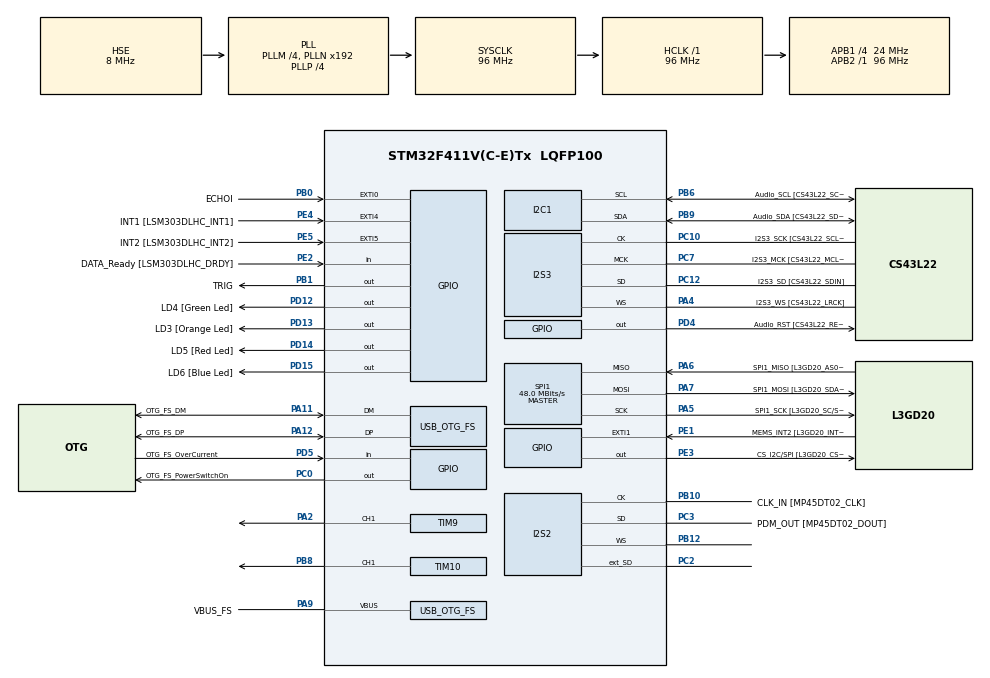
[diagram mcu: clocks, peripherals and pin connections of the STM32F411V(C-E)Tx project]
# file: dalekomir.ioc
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I2S2.AudioFreq=I2S_AUDIOFREQ_96K
I2S2.ErrorAudioFreq=0.15 %
I2S2.FullDuplexMode=I2S_FULLDUPLEXMODE_ENABLE
I2S2.Instance=SPI$Index
I2S2.RealAudioFreq=96.153 KHz
I2S2.VirtualMode=I2S_MODE_MASTER
I2S3.AudioFreq=I2S_AUDIOFREQ_96K
I2S3.ErrorAudioFreq=-6.99 %
I2S3.FullDuplexMode=I2S_FULLDUPLEXMODE_DISABLE
I2S3.Instance=SPI$Index
I2S3.RealAudioFreq=89.285 KHz
I2S3.VirtualMode=I2S_MODE_MASTER
Mcu.Family=STM32F4
Mcu.Name=STM32F411V(C-E)Tx
Mcu.Package=LQFP100
NVIC.EXTI0_IRQn=true\:0\:0\:false\:false\:true\:true\:true
NVIC.OTG_FS_IRQn=true\:0\:0\:false\:false\:true\:true\:true
NVIC.PriorityGroup=NVIC_PRIORITYGROUP_0
NVIC.TIM1_BRK_TIM9_IRQn=true\:0\:0\:false\:false\:true\:true\:true
NVIC.TIM1_UP_TIM10_IRQn=true\:0\:0\:false\:false\:true\:true\:true
PA10.GPIO_Label=OTG_FS_ID
PA10.Signal=USB_OTG_FS_ID
PA11.GPIO_Label=OTG_FS_DM
PA11.Mode=Device_Only
PA11.Signal=USB_OTG_FS_DM
PA12.GPIO_Label=OTG_FS_DP
PA12.Mode=Device_Only
PA12.Signal=USB_OTG_FS_DP
PA13.GPIO_Label=SWDIO
PA13.Mode=Serial_Wire
PA13.Signal=SYS_JTMS-SWDIO
PA14.GPIO_Label=SWCLK
PA14.Mode=Serial_Wire
PA14.Signal=SYS_JTCK-SWCLK
PA2.Signal=S_TIM9_CH1
PA4.GPIO_Label=I2S3_WS [CS43L22_LRCK]
PA4.GPIO_Mode=GPIO_MODE_AF_PP
PA4.GPIO_PuPd=GPIO_NOPULL
PA4.GPIO_Speed=GPIO_SPEED_FREQ_LOW
PA4.Mode=Half_Duplex_Master
PA4.Signal=I2S3_WS
PA5.GPIO_Label=SPI1_SCK [L3GD20_SC/SPC]
PA5.Mode=Full_Duplex_Master
PA5.Signal=SPI1_SCK
PA6.GPIO_Label=SPI1_MISO [L3GD20_AS0/SDO]
PA6.Mode=Full_Duplex_Master
PA6.Signal=SPI1_MISO
PA7.GPIO_Label=SPI1_MOSI [L3GD20_SDA/SDI/SDO]
PA7.Mode=Full_Duplex_Master
PA7.Signal=SPI1_MOSI
PA9.GPIO_Label=VBUS_FS
PA9.Mode=Activate_VBUS
PA9.Signal=USB_OTG_FS_VBUS
PB0.GPIO_Label=ECHOI
PB0.GPIO_ModeDefaultEXTI=GPIO_MODE_IT_RISING_FALLING
PB0.Signal=GPXTI0
PB1.GPIO_Label=TRIG
PB1.Signal=GPIO_Output
PB10.GPIO_Label=CLK_IN [MP45DT02_CLK]
PB10.Mode=Full_Duplex_Master
PB10.Signal=I2S2_CK
PB12.Mode=Full_Duplex_Master
PB12.Signal=I2S2_WS
PB3.GPIO_Label=SWO
PB3.Signal=SYS_JTDO-SWO
PB6.GPIO_Label=Audio_SCL [CS43L22_SCL]
PB6.GPIO_Mode=GPIO_MODE_AF_OD
PB6.GPIO_PuPd=GPIO_NOPULL
PB6.GPIO_Speed=GPIO_SPEED_FREQ_LOW
PB6.Mode=I2C
PB6.Signal=I2C1_SCL
PB8.Signal=S_TIM10_CH1
PB9.GPIO_Label=Audio_SDA [CS43L22_SDA]
PB9.GPIO_Mode=GPIO_MODE_AF_OD
PB9.GPIO_PuPd=GPIO_NOPULL
PB9.GPIO_Speed=GPIO_SPEED_FREQ_LOW
PB9.Mode=I2C
PB9.Signal=I2C1_SDA
PC0.GPIO_Label=OTG_FS_PowerSwitchOn
PC0.PinState=GPIO_PIN_SET
PC0.Signal=GPIO_Output
PC10.GPIO_Label=I2S3_SCK [CS43L22_SCLK]
PC10.GPIO_Mode=GPIO_MODE_AF_PP
PC10.GPIO_PuPd=GPIO_NOPULL
PC10.GPIO_Speed=GPIO_SPEED_FREQ_LOW
PC10.Mode=Half_Duplex_Master
PC10.Signal=I2S3_CK
PC12.GPIO_Label=I2S3_SD [CS43L22_SDIN]
PC12.GPIO_Mode=GPIO_MODE_AF_PP
PC12.GPIO_PuPd=GPIO_NOPULL
PC12.GPIO_Speed=GPIO_SPEED_FREQ_LOW
PC12.Mode=Half_Duplex_Master
PC12.Signal=I2S3_SD
PC14-OSC32_IN.GPIO_Label=PC14-OSC32_IN
PC14-OSC32_IN.Mode=LSE-External-Oscillator
PC14-OSC32_IN.Signal=RCC_OSC32_IN
PC15-OSC32_OUT.GPIO_Label=PC15-OSC32_OUT
PC15-OSC32_OUT.Mode=LSE-External-Oscillator
PC15-OSC32_OUT.Signal=RCC_OSC32_OUT
PC2.Mode=Full_Duplex_Master
PC2.Signal=I2S2_ext_SD
PC3.GPIO_Label=PDM_OUT [MP45DT02_DOUT]
PC3.Mode=Full_Duplex_Master
PC3.Signal=I2S2_SD
PC7.GPIO_Label=I2S3_MCK [CS43L22_MCLK]
PC7.GPIO_Mode=GPIO_MODE_AF_PP
PC7.GPIO_PuPd=GPIO_NOPULL
PC7.GPIO_Speed=GPIO_SPEED_FREQ_LOW
PC7.Mode=Master_Clock_Activated
PC7.Signal=I2S3_MCK
PD12.GPIO_Label=LD4 [Green Led]
PD12.GPIO_PuPd=GPIO_NOPULL
PD12.GPIO_Speed=GPIO_SPEED_FREQ_LOW
PD12.Signal=GPIO_Output
PD13.GPIO_Label=LD3 [Orange Led]
PD13.GPIO_PuPd=GPIO_NOPULL
PD13.GPIO_Speed=GPIO_SPEED_FREQ_LOW
PD13.Signal=GPIO_Output
PD14.GPIO_Label=LD5 [Red Led]
PD14.GPIO_PuPd=GPIO_NOPULL
PD14.GPIO_Speed=GPIO_SPEED_FREQ_LOW
PD14.Signal=GPIO_Output
PD15.GPIO_Label=LD6 [Blue Led]
PD15.GPIO_PuPd=GPIO_NOPULL
PD15.GPIO_Speed=GPIO_SPEED_FREQ_LOW
PD15.Signal=GPIO_Output
PD4.GPIO_Label=Audio_RST [CS43L22_RESET]
PD4.Signal=GPIO_Output
PD5.GPIO_Label=OTG_FS_OverCurrent
PD5.Signal=GPIO_Input
PE1.GPIO_Label=MEMS_INT2 [L3GD20_INT2]
PE1.GPIO_ModeDefaultEXTI=GPIO_MODE_EVT_RISING
PE1.Signal=GPXTI1
PE2.GPIO_Label=DATA_Ready [LSM303DLHC_DRDY]
PE2.Signal=GPIO_Input
PE3.GPIO_Label=CS_I2C/SPI [L3GD20_CS_I2C/SPI]
PE3.Signal=GPIO_Output
PE4.GPIO_Label=INT1 [LSM303DLHC_INT1]
PE4.GPIO_ModeDefaultEXTI=GPIO_MODE_EVT_RISING
PE4.Signal=GPXTI4
PE5.GPIO_Label=INT2 [LSM303DLHC_INT2]
PE5.GPIO_ModeDefaultEXTI=GPIO_MODE_EVT_RISING
PE5.Signal=GPXTI5
PH0\ -\ OSC_IN.GPIO_Label=PH0-OSC_IN
PH0\ -\ OSC_IN.Mode=HSE-External-Oscillator
PH0\ -\ OSC_IN.Signal=RCC_OSC_IN
PH1\ -\ OSC_OUT.GPIO_Label=PH1-OSC_OUT
PH1\ -\ OSC_OUT.Mode=HSE-External-Oscillator
PH1\ -\ OSC_OUT.Signal=RCC_OSC_OUT
ProjectManager.HeapSize=0x200
ProjectManager.StackSize=0x400
ProjectManager.TargetToolchain=STM32CubeIDE
RCC.48MHZClocksFreq_Value=48000000
RCC.AHBFreq_Value=96000000
RCC.APB1CLKDivider=RCC_HCLK_DIV4
RCC.APB1Freq_Value=24000000
RCC.APB1TimFreq_Value=48000000
RCC.APB2Freq_Value=96000000
RCC.APB2TimFreq_Value=96000000
RCC.CortexFreq_Value=96000000
RCC.HCLKFreq_Value=96000000
RCC.HSE_VALUE=8000000
RCC.HSI_VALUE=16000000
RCC.PLLI2SM=5
RCC.PLLI2SN=200
RCC.PLLM=4
RCC.PLLP=RCC_PLLP_DIV4
RCC.PLLQ=8
RCC.SYSCLKFreq_VALUE=96000000
RCC.SYSCLKSource=RCC_SYSCLKSOURCE_PLLCLK
RCC.VCOOutputFreq_Value=384000000
SH.S_TIM10_CH1.0=TIM10_CH1,PWM Generation1 CH1
SH.S_TIM9_CH1.0=TIM9_CH1,PWM Generation1 CH1
SPI1.BaudRatePrescaler=SPI_BAUDRATEPRESCALER_2
SPI1.CalculateBaudRate=48.0 MBits/s
SPI1.Direction=SPI_DIRECTION_2LINES
SPI1.Mode=SPI_MODE_MASTER
SPI1.VirtualType=VM_MASTER
TIM10.Channel=TIM_CHANNEL_1
TIM10.Period=10000
TIM10.Prescaler=95
TIM9.Channel-PWM\ Generation1\ CH1=TIM_CHANNEL_1
TIM9.Period=16
TIM9.Prescaler=95
USB_DEVICE.CLASS_NAME_FS=CDC
USB_DEVICE.MANUFACTURER_STRING=Max
USB_DEVICE.VirtualMode=Cdc
USB_DEVICE.VirtualModeFS=Cdc_FS
USB_OTG_FS.VirtualMode=Device_Only
VP_TIM10_VS_ClockSourceINT.Mode=Enable_Timer
VP_USB_DEVICE_VS_USB_DEVICE_CDC_FS.Mode=CDC_FS
board=STM32F411E-DISCO

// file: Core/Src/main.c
/* USER CODE BEGIN Header */
/**
  ******************************************************************************
  * @file           : main.c
  * @brief          : Main program body
  ******************************************************************************
  * @attention
  *
  * <h2><center>&copy; Copyright (c) 2020 STMicroelectronics.
  * All rights reserved.</center></h2>
  *
  * This software component is licensed by ST under Ultimate Liberty license
  * SLA0044, the "License"; You may not use this file except in compliance with
  * the License. You may obtain a copy of the License at:
  *                             www.st.com/SLA0044
  *
  ******************************************************************************
  */
/* USER CODE END Header */
#include "main.h"
#include "i2c.h"
#include "i2s.h"
#include "spi.h"
#include "tim.h"
#include "usb_device.h"
#include "gpio.h"

/* USER CODE BEGIN PTD */
void TIM10_reinit();
void TIM9_reinit();
void print_str_reinit(char str[]);
uint32_t get_us();
void udelay(uint32_t useconds);
/* USER CODE END PTD */

void SystemClock_Config(void);

/* USER CODE BEGIN 0 */
// Timer setup
volatile uint32_t tim10_overflows = 0;
volatile uint32_t tim9_overflows = 0;
char str[] = "Time: %lu us, distance: %lu   \n";
volatile uint32_t started_waiting_for_echo;
volatile uint32_t started_waiting_for_echo_low;

typedef enum state_t {
 INITIAL_S,
 TRIGGERING_S,
 WAITING_FOR_ECHO_START_S,
 WAITING_FOR_ECHO_STOP_S,
 TRIG_NOT_WENT_HIGH_S,
 TRIG_NOT_WENT_LOW_S,
 ECHO_TIMEOUT_S,
 ECHO_NOT_WENT_LOW_S,
 READING_DATA_S,
 ERROR_S
} state_t;

volatile state_t state = INITIAL_S;

void TIM10_reinit()
{
	HAL_TIM_Base_Stop(&htim10);
	__HAL_TIM_SET_PRESCALER( &htim10, (96-1) );
	__HAL_TIM_SET_COUNTER( &htim10, 0 );
	tim10_overflows = 0;
	HAL_TIM_Base_Start_IT(&htim10);

	if (state == INITIAL_S){
	// STARTING TO SEND THE SIGNAL
	HAL_GPIO_WritePin(TRIG_GPIO_Port, TRIG_Pin, GPIO_PIN_SET);

	if (HAL_GPIO_ReadPin(TRIG_GPIO_Port, TRIG_Pin) != GPIO_PIN_SET){
	 state = TRIG_NOT_WENT_HIGH_S;
	 return;
	}

	state = TRIGGERING_S;
	TIM9_reinit(); // starting to count another timer(when to stop trig)
	}
}

void TIM9_reinit()
{
	HAL_TIM_Base_Stop(&htim9);

	__HAL_TIM_SET_PRESCALER( &htim9, (96-1) );
	__HAL_TIM_SET_COUNTER( &htim9, 0 );
	tim9_overflows = 0;
	HAL_TIM_Base_Start_IT(&htim9);
}

void HAL_TIM_PeriodElapsedCallback(TIM_HandleTypeDef *htim)
{
  if( htim->Instance == TIM10 )
  {
   ++tim10_overflows;
  }
  if( htim->Instance == TIM9 )
  {
   ++tim9_overflows;

   if (state == TRIGGERING_S){

		 HAL_GPIO_WritePin(TRIG_GPIO_Port, TRIG_Pin, GPIO_PIN_RESET);

		 if (HAL_GPIO_ReadPin(TRIG_GPIO_Port, TRIG_Pin) != GPIO_PIN_RESET){
			 state = TRIG_NOT_WENT_LOW_S;
			 return;
		 }
		 started_waiting_for_echo = tim9_overflows * 16 + __HAL_TIM_GET_COUNTER(&htim9);
		 state = WAITING_FOR_ECHO_START_S;
   }
   // if we didn't receive answer from rangefinder in 200ms:
   if (state == WAITING_FOR_ECHO_START_S){
	   if (tim9_overflows * 16 + __HAL_TIM_GET_COUNTER(&htim9) - started_waiting_for_echo > 200000){
		   state = ECHO_TIMEOUT_S;
		   return;
	   }
   }

   // if we started to receive answer, but echo didn't go low after 200ms:
   if (state == WAITING_FOR_ECHO_STOP_S){
	   if (tim9_overflows * 16 + __HAL_TIM_GET_COUNTER(&htim9) - started_waiting_for_echo_low > 200000){
		   state = ECHO_NOT_WENT_LOW_S;
		   return;
	   }
   }
  }
}

// Interrupt handler
volatile uint32_t echo_start;
volatile uint32_t echo_finish;
volatile uint32_t measured_time;

void HAL_GPIO_EXTI_Callback(uint16_t GPIO_Pin)
{
 if (GPIO_Pin == ECHOI_Pin )
 {
  switch (state) {
  case WAITING_FOR_ECHO_START_S: {
   echo_start =  get_us();
   started_waiting_for_echo_low = tim9_overflows * 16 + __HAL_TIM_GET_COUNTER(&htim9);
   state = WAITING_FOR_ECHO_STOP_S;
   break;
  }

  case WAITING_FOR_ECHO_STOP_S: {
   echo_finish = get_us();
   measured_time = echo_finish - echo_start;
   state = READING_DATA_S;
   break;
  }

  default:
   state = ERROR_S;
  }
 }
}

uint32_t get_us()
{
   __HAL_TIM_DISABLE_IT(&htim10, TIM_IT_UPDATE); //! Дуже важливо!
   // __disable_irq();
   uint32_t res = tim10_overflows * 10000 + __HAL_TIM_GET_COUNTER(&htim10);
   // __enable_irq();
   __HAL_TIM_ENABLE_IT(&htim10, TIM_IT_UPDATE);
   return res;
}

void print_str_reinit(char str[]){
	CDC_Transmit_FS(str, strlen(str));
	// this is not a busy loop, it's just delay between we start again
	// for convenience!!!
    HAL_Delay(200);
    state = INITIAL_S;

    TIM10_reinit();

}

/* USER CODE END 0 */

int main(void)
{

  /* MCU Configuration--------------------------------------------------------*/

  /* Reset of all peripherals, Initializes the Flash interface and the Systick. */
  HAL_Init();

  /* Configure the system clock */
  SystemClock_Config();

  /* Initialize all configured peripherals */
  MX_GPIO_Init();
  MX_I2C1_Init();
  MX_I2S2_Init();
  MX_I2S3_Init();
  MX_SPI1_Init();
  MX_TIM10_Init();
  MX_USB_DEVICE_Init();
  MX_TIM9_Init();

  /* Infinite loop */
  /* USER CODE BEGIN WHILE */

  TIM10_reinit();

  while (1)
  {
	  switch (state){
	  case TRIG_NOT_WENT_HIGH_S: {
		  print_str_reinit("TRIG DID NOT WENT HIGH \n");
		  continue;
	  }
	  case TRIG_NOT_WENT_LOW_S: {
		  print_str_reinit("TRIG DID NOT WENT LOW \n");
		  continue;
	  }
	  case ECHO_TIMEOUT_S: {
		  print_str_reinit("Didn't receive echo from rangefinder. Too far.\n");
		  continue;
	  }
	  case  ECHO_NOT_WENT_LOW_S: {
		  print_str_reinit("Echo didn't went low for a long time. \n");
		  continue;
	  }
	  case ERROR_S: {
		  print_str_reinit("Unexpected error happened, try again \n");
		  continue;
	  }
	  case READING_DATA_S: {

		  uint32_t distance = measured_time/58;
		  if (distance > 700){
			  print_str_reinit("Didn't receive echo from rangefinder. Too far.\n");//
		  }
		  else{ // when everything else is ok:
			  snprintf(str, 100, "Time: %lu us, distance: %lu cm   \n", measured_time, distance);
			  print_str_reinit(str);
		  }
		  continue;
	   }
	}

    /* USER CODE END WHILE */

  }
}

void SystemClock_Config(void)
{
  RCC_OscInitTypeDef RCC_OscInitStruct = {0};
  RCC_ClkInitTypeDef RCC_ClkInitStruct = {0};
  RCC_PeriphCLKInitTypeDef PeriphClkInitStruct = {0};

  /** Configure the main internal regulator output voltage
  */
  __HAL_RCC_PWR_CLK_ENABLE();
  __HAL_PWR_VOLTAGESCALING_CONFIG(PWR_REGULATOR_VOLTAGE_SCALE1);
  /** Initializes the RCC Oscillators according to the specified parameters
  * in the RCC_OscInitTypeDef structure.
  */
  RCC_OscInitStruct.OscillatorType = RCC_OSCILLATORTYPE_HSE;
  RCC_OscInitStruct.HSEState = RCC_HSE_ON;
  RCC_OscInitStruct.PLL.PLLState = RCC_PLL_ON;
  RCC_OscInitStruct.PLL.PLLSource = RCC_PLLSOURCE_HSE;
  RCC_OscInitStruct.PLL.PLLM = 4;
  RCC_OscInitStruct.PLL.PLLN = 192;
  RCC_OscInitStruct.PLL.PLLP = RCC_PLLP_DIV4;
  RCC_OscInitStruct.PLL.PLLQ = 8;
  if (HAL_RCC_OscConfig(&RCC_OscInitStruct) != HAL_OK)
  {
    Error_Handler();
  }
  /** Initializes the CPU, AHB and APB buses clocks
  */
  RCC_ClkInitStruct.ClockType = RCC_CLOCKTYPE_HCLK|RCC_CLOCKTYPE_SYSCLK
                              |RCC_CLOCKTYPE_PCLK1|RCC_CLOCKTYPE_PCLK2;
  RCC_ClkInitStruct.SYSCLKSource = RCC_SYSCLKSOURCE_PLLCLK;
  RCC_ClkInitStruct.AHBCLKDivider = RCC_SYSCLK_DIV1;
  RCC_ClkInitStruct.APB1CLKDivider = RCC_HCLK_DIV4;
  RCC_ClkInitStruct.APB2CLKDivider = RCC_HCLK_DIV1;

  if (HAL_RCC_ClockConfig(&RCC_ClkInitStruct, FLASH_LATENCY_3) != HAL_OK)
  {
    Error_Handler();
  }
  PeriphClkInitStruct.PeriphClockSelection = RCC_PERIPHCLK_I2S;
  PeriphClkInitStruct.PLLI2S.PLLI2SN = 200;
  PeriphClkInitStruct.PLLI2S.PLLI2SM = 5;
  PeriphClkInitStruct.PLLI2S.PLLI2SR = 2;
  if (HAL_RCCEx_PeriphCLKConfig(&PeriphClkInitStruct) != HAL_OK)
  {
    Error_Handler();
  }
}

void Error_Handler(void)
{
  __disable_irq();
  while (1)
  {
  }
}

/************************ (C) COPYRIGHT STMicroelectronics *****END OF FILE****/
